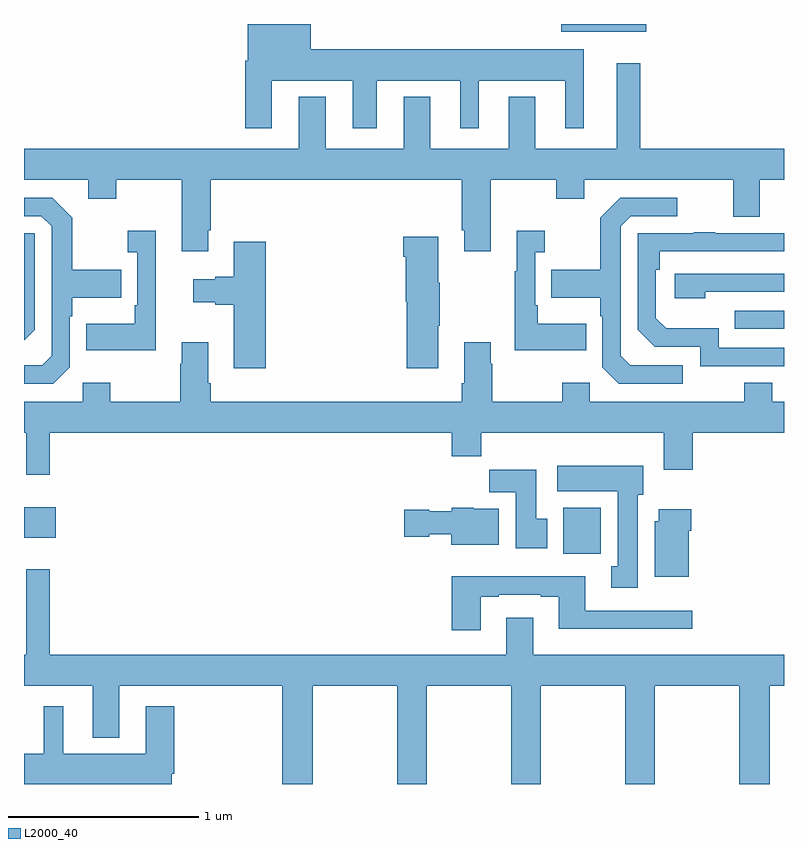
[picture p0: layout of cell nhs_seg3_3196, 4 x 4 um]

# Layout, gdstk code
import gdstk
lib = gdstk.Library(unit=1e-6, precision=1e-09)
def R(c, l, rs):  # rectangles x0, y0, x1, y1
    for r in rs: c.add(gdstk.rectangle(r[:2], r[2:], *l))
def P(c, l, *ps):  # polygons
    for p in ps: c.add(gdstk.Polygon(p, *l))
L2000_40 = (2000, 40)

nhs_seg3_3196 = lib.new_cell('nhs_seg3_3196')
R(nhs_seg3_3196, L2000_40, [(279.839,701.612,280.036,701.854), (277,701.696,277.168,701.857), (280.741,702.795,281,702.891), (279.828,704.36,280.276,704.4)])
P(nhs_seg3_3196, L2000_40, [(278.305,704.102),(278.729,704.102),(278.729,703.851),(278.857,703.851),(278.857,704.102),(279.296,704.102),(279.296,703.851),(279.394,703.851),(279.394,704.102),(279.848,704.102),(279.848,703.851),(279.946,703.851),(279.946,704.266),(278.509,704.266),(278.509,704.4),(278.177,704.4),(278.177,704.206),(278.165,704.206),(278.165,703.851),(278.305,703.851)],
  [(277.969,703.315),(277.982,703.315),(277.982,703.58),(279.305,703.58),(279.305,703.315),(279.317,703.315),(279.317,703.203),(279.457,703.203),(279.457,703.58),(279.802,703.58),(279.802,703.481),(279.949,703.481),(279.949,703.58),(280.733,703.58),(280.733,703.386),(280.873,703.386),(280.873,703.58),(281,703.58),(281,703.744),(280.243,703.744),(280.243,704.194),(280.121,704.194),(280.121,703.744),(279.691,703.744),(279.691,704.017),(279.551,704.017),(279.551,703.744),(279.139,703.744),(279.139,704.017),(278.999,704.017),(278.999,703.744),(278.587,703.744),(278.587,704.017),(278.447,704.017),(278.447,703.744),(277,703.744),(277,703.58),(277.337,703.58),(277.337,703.481),(277.485,703.481),(277.485,703.58),(277.829,703.58),(277.829,703.203),(277.969,703.203)],
  [(280.468,702.603),(280.191,702.603),(280.14,702.654),(280.14,703.335),(280.194,703.389),(280.438,703.389),(280.438,703.485),(280.137,703.485),(280.032,703.379),(280.032,703.107),(279.775,703.107),(279.775,702.959),(280.032,702.959),(280.032,702.863),(280.044,702.863),(280.044,702.594),(280.131,702.507),(280.468,702.507)],
  [(277.242,702.594),(277.242,702.863),(277.255,702.863),(277.255,702.959),(277.511,702.959),(277.511,703.107),(277.255,703.107),(277.255,703.379),(277.149,703.485),(277,703.485),(277,703.389),(277.092,703.389),(277.146,703.335),(277.146,702.654),(277.095,702.603),(277,702.603),(277,702.507),(277.155,702.507)],
  [(279.959,702.823),(279.703,702.823),(279.703,702.919),(279.69,702.919),(279.69,703.199),(279.742,703.199),(279.742,703.312),(279.593,703.312),(279.593,703.099),(279.582,703.099),(279.582,702.683),(279.959,702.683)],
  [(277.694,703.312),(277.545,703.312),(277.545,703.199),(277.596,703.199),(277.596,702.919),(277.584,702.919),(277.584,702.823),(277.327,702.823),(277.327,702.683),(277.694,702.683)],
  [(281,702.696),(280.656,702.696),(280.656,702.799),(280.379,702.799),(280.326,702.852),(280.326,703.106),(280.346,703.106),(280.346,703.203),(281,703.203),(281,703.299),(280.637,703.299),(280.637,703.304),(280.525,703.304),(280.525,703.299),(280.23,703.299),(280.23,702.792),(280.32,702.702),(280.56,702.702),(280.56,702.6),(281,702.6)],
  [(277.056,702.792),(277.056,703.299),(277,703.299),(277,702.736)],
  [(279.181,702.811),(279.189,702.811),(279.189,703.039),(279.181,703.039),(279.181,703.279),(278.996,703.279),(278.996,703.175),(279.008,703.175),(279.008,702.939),(279.014,702.939),(279.014,702.588),(279.181,702.588)],
  [(278.273,703.255),(278.105,703.255),(278.105,703.07),(278.006,703.07),(278.006,703.057),(277.89,703.057),(277.89,702.935),(278.006,702.935),(278.006,702.923),(278.105,702.923),(278.105,702.588),(278.273,702.588)],
  [(280.586,702.99),(281,702.99),(281,703.086),(280.425,703.086),(280.425,702.956),(280.586,702.956)],
  [(277.135,702.248),(279.251,702.248),(279.251,702.124),(279.407,702.124),(279.407,702.248),(280.367,702.248),(280.367,702.054),(280.52,702.054),(280.52,702.248),(281,702.248),(281,702.412),(280.939,702.412),(280.939,702.511),(280.792,702.511),(280.792,702.412),(279.978,702.412),(279.978,702.511),(279.832,702.511),(279.832,702.412),(279.465,702.412),(279.465,702.611),(279.457,702.611),(279.457,702.724),(279.317,702.724),(279.317,702.508),(279.305,702.508),(279.305,702.412),(277.982,702.412),(277.982,702.508),(277.969,702.508),(277.969,702.724),(277.829,702.724),(277.829,702.611),(277.822,702.611),(277.822,702.412),(277.455,702.412),(277.455,702.511),(277.308,702.511),(277.308,702.412),(277,702.412),(277,702.248),(277.013,702.248),(277.013,702.027),(277.135,702.027)],
  [(280.231,701.922),(280.258,701.922),(280.258,702.076),(279.807,702.076),(279.807,701.942),(280.124,701.942),(280.124,701.546),(280.091,701.546),(280.091,701.433),(280.231,701.433)],
  [(279.754,701.796),(279.697,701.796),(279.697,702.055),(279.448,702.055),(279.448,701.936),(279.587,701.936),(279.587,701.64),(279.754,701.64)],
  [(279.499,701.848),(279.366,701.848),(279.366,701.854),(279.252,701.854),(279.252,701.836),(279.132,701.836),(279.132,701.844),(279,701.844),(279,701.702),(279.132,701.702),(279.132,701.714),(279.248,701.714),(279.248,701.66),(279.499,701.66)],
  [(280.498,701.732),(280.511,701.732),(280.511,701.845),(280.34,701.845),(280.34,701.784),(280.319,701.784),(280.319,701.492),(280.498,701.492)],
  [(278.52,700.916),(278.965,700.916),(278.965,700.4),(279.12,700.4),(279.12,700.916),(279.565,700.916),(279.565,700.4),(279.72,700.4),(279.72,700.916),(280.165,700.916),(280.165,700.4),(280.32,700.4),(280.32,700.916),(280.765,700.916),(280.765,700.4),(280.925,700.4),(280.925,700.916),(281,700.916),(281,701.08),(279.679,701.08),(279.679,701.275),(279.539,701.275),(279.539,701.08),(277.135,701.08),(277.135,701.53),(277.013,701.53),(277.013,701.08),(277,701.08),(277,700.916),(277.361,700.916),(277.361,700.643),(277.501,700.643),(277.501,700.916),(278.36,700.916),(278.36,700.4),(278.52,700.4)],
  [(279.403,701.385),(279.499,701.385),(279.499,701.397),(279.719,701.397),(279.719,701.385),(279.815,701.385),(279.815,701.216),(280.516,701.216),(280.516,701.313),(279.955,701.313),(279.955,701.494),(279.251,701.494),(279.251,701.208),(279.403,701.208)],
  [(277.777,700.454),(277.79,700.454),(277.79,700.81),(277.64,700.81),(277.64,700.558),(277.207,700.558),(277.207,700.81),(277.103,700.81),(277.103,700.558),(277,700.558),(277,700.4),(277.777,700.4)])

lib.write_gds('nhs_seg3_3196.gds')
